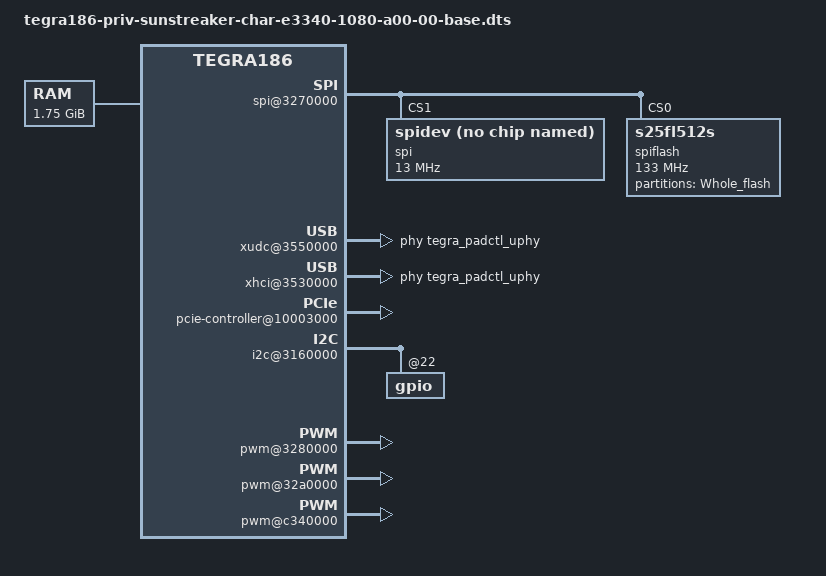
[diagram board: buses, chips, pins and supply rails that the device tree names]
/*
 * tegra186-sunstreaker-e3340-1080-a00-00-base.dts Sunstreaker-CHAR A00 Board
 *
 * Copyright (c) 2015-2016 NVIDIA CORPORATION.  All rights reserved.
 *
 * This program is free software; you can redistribute it and/or modify
 * it under the terms of the GNU General Public License as published by
 * the Free Software Foundation; version 2 of the License.
 *
 * This program is distributed in the hope that it will be useful, but WITHOUT
 * ANY WARRANTY; without even the implied warranty of MERCHANTABILITY or
 * FITNESS FOR A PARTICULAR PURPOSE.  See the GNU General Public License for
 * more details.
 */

#include "tegra186-platforms/tegra186-sunstreaker-common-e3340-0000-a00.dtsi"
#include "tegra186-platforms/tegra186-sunstreaker-char-power-tree-e3340-1080-a00-00.dtsi"
#include "tegra186-platforms/tegra186-sunstreaker-char-e3340-a00-disp.dsti"
#include "tegra186-plugin-manager/tegra186-sunstreaker-e3340-0000-a00-plugin-manager.dtsi"

/ {
	nvidia,dtsfilename = __FILE__;
	nvidia,boardids = "3340:1080:A0";
	nvidia,proc-boardid = "3340:1080:A0";

	chosen {
		bootargs ="console=ttyS0,115200";
		stdout-path = &uarta;
	};

	firmware {
		android {
			compatible = "android,firmware";
			hardware = "sunstreaker";
		};
	};

	memory@80000000 {
		device_type = "memory";
		reg = <0x0 0x80000000 0x0 0x70000000>;
	};

	spi@3270000 {/* QSPI NOR */
		status = "okay";
		spi@0 {
			compatible = "spidev";
			reg = <1>;
			spi-max-frequency = <13000000>;
			controller-data {
					nvidia,x1-len-limit = <16>;
					nvidia,x1-bus-speed = <133000000>; /* In Mhz */
					nvidia,x1-dymmy-cycle = <0>;
					nvidia,x4-bus-speed = <133000000>;
					nvidia,x4-dymmy-cycle = <8>;
					nvidia,ifddr-div2-sdr = <1>;
					nvidia,x4-is-ddr=<1>;
			};
		};

		spiflash@1 {
			#address-cells = <1>;
			#size-cells = <1>;
			compatible = "s25fl512s";
			reg = <0>;
			spi-max-frequency = <133000000>;
			partition@0 {
				label = "Whole_flash";
				reg = <0x00000000 0x4000000>;
			};
			controller-data {
				nvidia,x1-len-limit = <16>;
				nvidia,x1-bus-speed = <133000000>; /* In Mhz */
				nvidia,x1-dymmy-cycle = <0>;
				nvidia,x4-bus-speed = <133000000>;
				nvidia,x4-dymmy-cycle = <8>;
				nvidia,ifddr-div2-sdr = <1>;
				nvidia,x4-is-ddr=<1>;
			};
		};
	};


	xudc@3550000 {
		status = "okay";
		phys = <&tegra_padctl_uphy TEGRA_PADCTL_UPHY_UTMI_P(0)>,
			<&tegra_padctl_uphy TEGRA_PADCTL_UPHY_USB3_P(1)>;
		phy-names = "usb2", "usb3";
	};

	xhci@3530000 {
		status = "okay";
		phys = <&tegra_padctl_uphy TEGRA_PADCTL_UPHY_UTMI_P(0)>,
			<&tegra_padctl_uphy TEGRA_PADCTL_UPHY_UTMI_P(1)>,
			<&tegra_padctl_uphy TEGRA_PADCTL_UPHY_UTMI_P(2)>,
			<&tegra_padctl_uphy TEGRA_PADCTL_UPHY_USB3_P(1)>,
			<&tegra_padctl_uphy TEGRA_PADCTL_UPHY_USB3_P(0)>,
			<&tegra_padctl_uphy TEGRA_PADCTL_UPHY_USB3_P(2)>,
			<&tegra_padctl_uphy TEGRA_PADCTL_UPHY_HSIC_P(0)>;
		phy-names = "utmi-0", "utmi-1", "utmi-2", "usb3-1","usb3-0",
			"usb3-2", "hsic-0";
	};

	pinctrl@3520000 {
		status = "okay";
		pinctrl-0 = <&sunstreak_default>;
		pinctrl-names = "default";
		sunstreak_default: pinmux {
			usb2-std-A-port0 {
				nvidia,lanes = "otg-1";
				nvidia,function = "xusb";
				nvidia,port-cap = <TEGRA_PADCTL_PORT_HOST_ONLY>;
			};
			usb3-std-A-port0 {
				nvidia,lanes = "uphy-lane-0";
				nvidia,function = "usb3";
				nvidia,usb3-port = <0>;
				nvidia,port-cap = <TEGRA_PADCTL_PORT_HOST_ONLY>;
			};
			usb2-micro-AB {
				nvidia,lanes = "otg-0";
				nvidia,function = "xusb";
				nvidia,port-cap = <TEGRA_PADCTL_PORT_OTG_CAP>;
			};
			usb3-micro-AB {
				nvidia,lanes = "uphy-lane-1";
				nvidia,function = "usb3";
				nvidia,usb3-port = <1>;
				nvidia,port-cap = <TEGRA_PADCTL_PORT_OTG_CAP>;
			};
			usb2-std-A-port2 {
				nvidia,lanes = "otg-2";
				nvidia,function = "xusb";
				nvidia,port-cap = <TEGRA_PADCTL_PORT_HOST_ONLY>;
			};
			usb3-std-A-port2 {
				nvidia,lanes = "uphy-lane-2";
				nvidia,function = "usb3";
				nvidia,usb3-port = <2>;
				nvidia,port-cap = <TEGRA_PADCTL_PORT_HOST_ONLY>;
			};
			hsic {
				nvidia,lanes = "hsic-0";
				nvidia,function = "hsic";
			};
			pcie {
				nvidia,lanes = "uphy-lane-3", "uphy-lane-4";
				nvidia,function = "pcie";
				nvidia,pcie-controller = <0>;
			};
			sata {
				nvidia,lanes = "uphy-lane-5";
				nvidia,function = "sata";
			};
		};
	};
	pcie-controller@10003000 {
		nvidia,lane-map = <0x211>;
		status = "okay";
		pci@1,0 {
			status = "okay";
		};
		pci@2,0 {
			status = "okay";
		};
		pci@3,0 {
			status = "okay";
		};
	};

	i2c@3160000 {
		gpio@22 {
			disable-sdcard1-power-enable {
				gpio-input = <6>;
			};
		};
	};

	fixed-regulators {
		regulator@110 {
			status = "disabled";
		};

		regulator@111 {
			status = "disabled";
		};
	};

	pwm@3280000 {
		status = "okay";
	};

	pwm@32a0000 {
		status = "okay";
	};

	pwm@c340000 {
		status = "okay";
	};

	ast@b040000 {
		status = "okay";
	};
	ast@b050000 {
		status = "okay";
	};
	rtcpu@b000000 {
		status = "okay";
	};
	sce-mods {
		status = "okay";
	};
};
